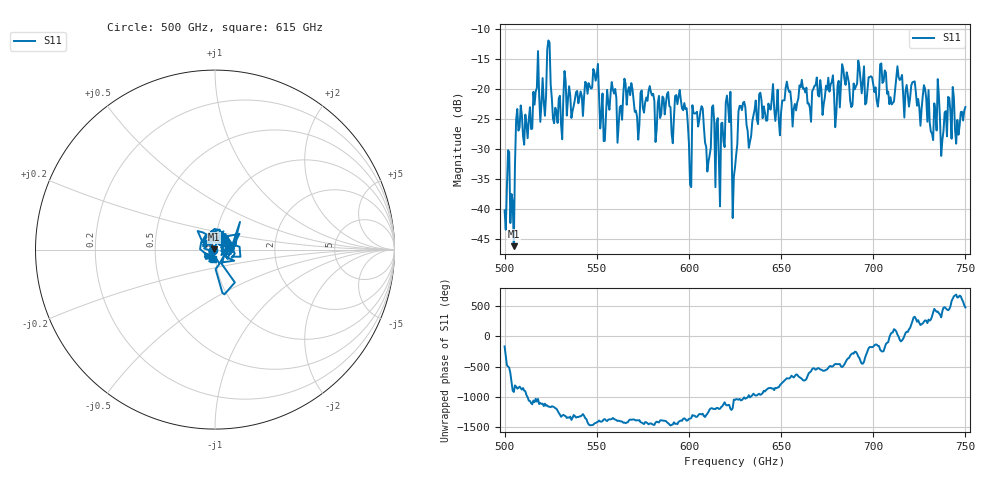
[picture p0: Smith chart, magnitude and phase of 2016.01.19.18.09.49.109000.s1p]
!Created with skrf (http://scikit-rf.org).
# GHz S RI R 50.0
!freq ReS11 ImS11
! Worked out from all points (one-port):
!   401 points, 500 GHz to 750 GHz, reference 50 ohm
!   lowest |S11| = -46.3 dB at 505 GHz (marker M1), VSWR 1.01, Z = 49.5 + j0.15 ohm
!   |S11| at or under -10 dB: start of sweep to end of sweep
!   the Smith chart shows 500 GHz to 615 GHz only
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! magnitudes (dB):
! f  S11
! 500 GHz  -40.3
! 505 GHz  -46.3
! 507.5 GHz  -26.9
! 520.6 GHz  -18.2
! 523.8 GHz  -11.9
! 527.5 GHz  -23.1
! 531.2 GHz  -28.4
! 549.4 GHz  -18.6
! 553.1 GHz  -20.7
! 558.8 GHz  -20.1
! 562.5 GHz  -23.0
! 566.2 GHz  -22.6
! 571.9 GHz  -24.7
! 593.8 GHz  -22.5
! 600 GHz  -29.1
! 603.1 GHz  -24.1
! 614.4 GHz  -36.4
! 615.6 GHz  -24.9
! 621.2 GHz  -22.8
! 625 GHz  -33.1
! 628.8 GHz  -23.5
! 632.5 GHz  -29.8
! 639.4 GHz  -21.8
! 656.2 GHz  -26.3
! 687.5 GHz  -22.0
! 718.8 GHz  -20.9
! 737.5 GHz  -28.6
! 750 GHz  -23.0
